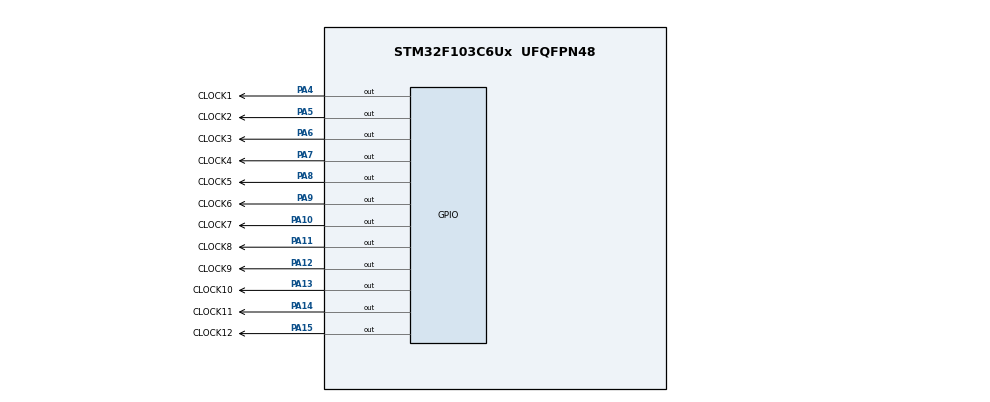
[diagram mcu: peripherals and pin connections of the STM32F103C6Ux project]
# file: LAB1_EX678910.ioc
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Mcu.Family=STM32F1
Mcu.Name=STM32F103C6Ux
Mcu.Package=UFQFPN48
NVIC.PriorityGroup=NVIC_PRIORITYGROUP_4
PA10.GPIO_Label=CLOCK7
PA10.Signal=GPIO_Output
PA11.GPIO_Label=CLOCK8
PA11.Signal=GPIO_Output
PA12.GPIO_Label=CLOCK9
PA12.Signal=GPIO_Output
PA13.GPIO_Label=CLOCK10
PA13.Signal=GPIO_Output
PA14.GPIO_Label=CLOCK11
PA14.Signal=GPIO_Output
PA15.GPIO_Label=CLOCK12
PA15.Signal=GPIO_Output
PA4.GPIO_Label=CLOCK1
PA4.Signal=GPIO_Output
PA5.GPIO_Label=CLOCK2
PA5.Signal=GPIO_Output
PA6.GPIO_Label=CLOCK3
PA6.Signal=GPIO_Output
PA7.GPIO_Label=CLOCK4
PA7.Signal=GPIO_Output
PA8.GPIO_Label=CLOCK5
PA8.Signal=GPIO_Output
PA9.GPIO_Label=CLOCK6
PA9.Signal=GPIO_Output
ProjectManager.HeapSize=0x200
ProjectManager.StackSize=0x400
ProjectManager.TargetToolchain=STM32CubeIDE
RCC.APB1Freq_Value=8000000
RCC.APB2Freq_Value=8000000
board=custom

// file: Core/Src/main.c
/* USER CODE BEGIN Header */
/**
  ******************************************************************************
  * @file           : main.c
  * @brief          : Main program body
  ******************************************************************************
  * @attention
  *
  * <h2><center>&copy; Copyright (c) 2022 STMicroelectronics.
  * All rights reserved.</center></h2>
  *
  * This software component is licensed by ST under BSD 3-Clause license,
  * the "License"; You may not use this file except in compliance with the
  * License. You may obtain a copy of the License at:
  *                        opensource.org/licenses/BSD-3-Clause
  *
  ******************************************************************************
  */
/* USER CODE END Header */
#include "main.h"

void SystemClock_Config(void);
static void MX_GPIO_Init(void);
/* USER CODE BEGIN PFP */
void AnalogClock(int num);
void clearAllClock();
void clockDisplay(int hour, int min, int sec);
void setNumberOnClock(int num);
/* USER CODE END PFP */

int main(void)
{

  /* MCU Configuration--------------------------------------------------------*/

  /* Reset of all peripherals, Initializes the Flash interface and the Systick. */
  HAL_Init();

  /* Configure the system clock */
  SystemClock_Config();

  /* Initialize all configured peripherals */
  MX_GPIO_Init();

  /* Infinite loop */
  /* USER CODE BEGIN WHILE */
  int hour = 0, min = 0, sec = 0;

  while (1)
  {
	  //EX6

	  /*for(int i = 1; i <= 12; i++){
		  AnalogClock(i);
		  if(i >= 12) i = 0;
		  HAL_Delay (1000);
	  }*/
	  //ex10
	  sec++;

	  if(sec >= 60){
		  sec = 0;
		  min++;
	  }
	  if(min >= 60){
		  hour++;
		  min = 0;
	  }
	  if(hour >= 24) hour = 0;
	  //display
	  clockDisplay(hour, min, sec);
	  HAL_Delay (50);
    /* USER CODE END WHILE */

  }
}

void SystemClock_Config(void)
{
  RCC_OscInitTypeDef RCC_OscInitStruct = {0};
  RCC_ClkInitTypeDef RCC_ClkInitStruct = {0};

  /** Initializes the RCC Oscillators according to the specified parameters
  * in the RCC_OscInitTypeDef structure.
  */
  RCC_OscInitStruct.OscillatorType = RCC_OSCILLATORTYPE_HSI;
  RCC_OscInitStruct.HSIState = RCC_HSI_ON;
  RCC_OscInitStruct.HSICalibrationValue = RCC_HSICALIBRATION_DEFAULT;
  RCC_OscInitStruct.PLL.PLLState = RCC_PLL_NONE;
  if (HAL_RCC_OscConfig(&RCC_OscInitStruct) != HAL_OK)
  {
    Error_Handler();
  }

  /** Initializes the CPU, AHB and APB buses clocks
  */
  RCC_ClkInitStruct.ClockType = RCC_CLOCKTYPE_HCLK|RCC_CLOCKTYPE_SYSCLK
                              |RCC_CLOCKTYPE_PCLK1|RCC_CLOCKTYPE_PCLK2;
  RCC_ClkInitStruct.SYSCLKSource = RCC_SYSCLKSOURCE_HSI;
  RCC_ClkInitStruct.AHBCLKDivider = RCC_SYSCLK_DIV1;
  RCC_ClkInitStruct.APB1CLKDivider = RCC_HCLK_DIV1;
  RCC_ClkInitStruct.APB2CLKDivider = RCC_HCLK_DIV1;

  if (HAL_RCC_ClockConfig(&RCC_ClkInitStruct, FLASH_LATENCY_0) != HAL_OK)
  {
    Error_Handler();
  }
}

static void MX_GPIO_Init(void)
{
  GPIO_InitTypeDef GPIO_InitStruct = {0};

  /* GPIO Ports Clock Enable */
  __HAL_RCC_GPIOA_CLK_ENABLE();

  /*Configure GPIO pin Output Level */
  HAL_GPIO_WritePin(GPIOA, CLOCK1_Pin|CLOCK2_Pin|CLOCK3_Pin|CLOCK4_Pin
                          |CLOCK5_Pin|CLOCK6_Pin|CLOCK7_Pin|CLOCK8_Pin
                          |CLOCK9_Pin|CLOCK10_Pin|CLOCK11_Pin|CLOCK12_Pin, GPIO_PIN_RESET);

  /*Configure GPIO pins : CLOCK1_Pin CLOCK2_Pin CLOCK3_Pin CLOCK4_Pin
                           CLOCK5_Pin CLOCK6_Pin CLOCK7_Pin CLOCK8_Pin
                           CLOCK9_Pin CLOCK10_Pin CLOCK11_Pin CLOCK12_Pin */
  GPIO_InitStruct.Pin = CLOCK1_Pin|CLOCK2_Pin|CLOCK3_Pin|CLOCK4_Pin
                          |CLOCK5_Pin|CLOCK6_Pin|CLOCK7_Pin|CLOCK8_Pin
                          |CLOCK9_Pin|CLOCK10_Pin|CLOCK11_Pin|CLOCK12_Pin;
  GPIO_InitStruct.Mode = GPIO_MODE_OUTPUT_PP;
  GPIO_InitStruct.Pull = GPIO_NOPULL;
  GPIO_InitStruct.Speed = GPIO_SPEED_FREQ_LOW;
  HAL_GPIO_Init(GPIOA, &GPIO_InitStruct);

}

/* USER CODE BEGIN 4 */
void clockDisplay(int hour, int min, int sec){
	  int hourDis, minDis, secDis;
	  if(sec%5 >= 3){
	  	  secDis = sec/5+1;
	  }
	  else{
          if(sec/5 == 0) secDis = 12;
  	      else secDis = sec/5;
	  }
	  if(min%5 >= 3){
		  minDis = min/5+1;
	  }
	  else{
  	      if(min/5 == 0) minDis = 12;
	 	  else minDis = min/5;
	  }
	  if(hour%12 == 0){
	  	  hourDis = 12;
	  }
	  else hourDis = hour%12;

	  clearAllClock();
	  setNumberOnClock(secDis);
	  setNumberOnClock(minDis);
	  setNumberOnClock(hourDis);
}

void setNumberOnClock(int num){
	switch(num){
	case 1:
		HAL_GPIO_WritePin ( CLOCK1_GPIO_Port , CLOCK1_Pin ,GPIO_PIN_RESET );
		break;
	case 2:
		HAL_GPIO_WritePin ( CLOCK2_GPIO_Port , CLOCK2_Pin ,GPIO_PIN_RESET );
		break;
	case 3:
		HAL_GPIO_WritePin ( CLOCK3_GPIO_Port , CLOCK3_Pin ,GPIO_PIN_RESET );
		break;
	case 4:
		HAL_GPIO_WritePin ( CLOCK4_GPIO_Port , CLOCK4_Pin ,GPIO_PIN_RESET );
		break;
	case 5:
		HAL_GPIO_WritePin ( CLOCK5_GPIO_Port , CLOCK5_Pin ,GPIO_PIN_RESET );
		break;
	case 6:
		HAL_GPIO_WritePin ( CLOCK6_GPIO_Port , CLOCK6_Pin ,GPIO_PIN_RESET );
		break;
	case 7:
		HAL_GPIO_WritePin ( CLOCK7_GPIO_Port , CLOCK7_Pin ,GPIO_PIN_RESET );
		break;
	case 8:
		HAL_GPIO_WritePin ( CLOCK8_GPIO_Port , CLOCK8_Pin ,GPIO_PIN_RESET );
		break;
	case 9:
		HAL_GPIO_WritePin ( CLOCK9_GPIO_Port , CLOCK9_Pin ,GPIO_PIN_RESET );
		break;
	case 10:
		HAL_GPIO_WritePin ( CLOCK10_GPIO_Port , CLOCK10_Pin ,GPIO_PIN_RESET );
		break;
	case 11:
		HAL_GPIO_WritePin ( CLOCK11_GPIO_Port , CLOCK11_Pin ,GPIO_PIN_RESET );
		break;
	case 12:
		HAL_GPIO_WritePin ( CLOCK12_GPIO_Port , CLOCK12_Pin ,GPIO_PIN_RESET );
		break;
	default:
		break;
	}
}

void clearNumberOnClock(int num){
	switch(num){
	case 1:
		HAL_GPIO_WritePin ( CLOCK1_GPIO_Port , CLOCK1_Pin ,GPIO_PIN_SET );
		break;
	case 2:
		HAL_GPIO_WritePin ( CLOCK2_GPIO_Port , CLOCK2_Pin ,GPIO_PIN_SET );
		break;
	case 3:
		HAL_GPIO_WritePin ( CLOCK3_GPIO_Port , CLOCK3_Pin ,GPIO_PIN_SET );
		break;
	case 4:
		HAL_GPIO_WritePin ( CLOCK4_GPIO_Port , CLOCK4_Pin ,GPIO_PIN_SET );
		break;
	case 5:
		HAL_GPIO_WritePin ( CLOCK5_GPIO_Port , CLOCK5_Pin ,GPIO_PIN_SET );
		break;
	case 6:
		HAL_GPIO_WritePin ( CLOCK6_GPIO_Port , CLOCK6_Pin ,GPIO_PIN_SET );
		break;
	case 7:
		HAL_GPIO_WritePin ( CLOCK7_GPIO_Port , CLOCK7_Pin ,GPIO_PIN_SET );
		break;
	case 8:
		HAL_GPIO_WritePin ( CLOCK8_GPIO_Port , CLOCK8_Pin ,GPIO_PIN_SET );
		break;
	case 9:
		HAL_GPIO_WritePin ( CLOCK9_GPIO_Port , CLOCK9_Pin ,GPIO_PIN_SET );
		break;
	case 10:
		HAL_GPIO_WritePin ( CLOCK10_GPIO_Port , CLOCK10_Pin ,GPIO_PIN_SET );
		break;
	case 11:
		HAL_GPIO_WritePin ( CLOCK11_GPIO_Port , CLOCK11_Pin ,GPIO_PIN_SET );
		break;
	case 12:
		HAL_GPIO_WritePin ( CLOCK12_GPIO_Port , CLOCK12_Pin ,GPIO_PIN_SET );
		break;
	default:
		break;
	}
}

void clearAllClock() {
	HAL_GPIO_WritePin ( CLOCK1_GPIO_Port , CLOCK1_Pin ,GPIO_PIN_SET );
	HAL_GPIO_WritePin ( CLOCK2_GPIO_Port , CLOCK2_Pin ,GPIO_PIN_SET );
	HAL_GPIO_WritePin ( CLOCK3_GPIO_Port , CLOCK3_Pin ,GPIO_PIN_SET );
	HAL_GPIO_WritePin ( CLOCK4_GPIO_Port , CLOCK4_Pin ,GPIO_PIN_SET );
	HAL_GPIO_WritePin ( CLOCK5_GPIO_Port , CLOCK5_Pin ,GPIO_PIN_SET );
	HAL_GPIO_WritePin ( CLOCK6_GPIO_Port , CLOCK6_Pin ,GPIO_PIN_SET );
	HAL_GPIO_WritePin ( CLOCK7_GPIO_Port , CLOCK7_Pin ,GPIO_PIN_SET );
	HAL_GPIO_WritePin ( CLOCK8_GPIO_Port , CLOCK8_Pin ,GPIO_PIN_SET );
	HAL_GPIO_WritePin ( CLOCK9_GPIO_Port , CLOCK9_Pin ,GPIO_PIN_SET );
	HAL_GPIO_WritePin ( CLOCK10_GPIO_Port , CLOCK10_Pin ,GPIO_PIN_SET );
	HAL_GPIO_WritePin ( CLOCK11_GPIO_Port , CLOCK11_Pin ,GPIO_PIN_SET );
	HAL_GPIO_WritePin ( CLOCK12_GPIO_Port , CLOCK12_Pin ,GPIO_PIN_SET );
}
void AnalogClock(int num){
	switch(num){
	case 1:
		HAL_GPIO_WritePin ( CLOCK1_GPIO_Port , CLOCK1_Pin ,GPIO_PIN_RESET );
		HAL_GPIO_WritePin ( CLOCK2_GPIO_Port , CLOCK2_Pin ,GPIO_PIN_SET );
		HAL_GPIO_WritePin ( CLOCK3_GPIO_Port , CLOCK3_Pin ,GPIO_PIN_SET );
		HAL_GPIO_WritePin ( CLOCK4_GPIO_Port , CLOCK4_Pin ,GPIO_PIN_SET );
		HAL_GPIO_WritePin ( CLOCK5_GPIO_Port , CLOCK5_Pin ,GPIO_PIN_SET );
		HAL_GPIO_WritePin ( CLOCK6_GPIO_Port , CLOCK6_Pin ,GPIO_PIN_SET );
		HAL_GPIO_WritePin ( CLOCK7_GPIO_Port , CLOCK7_Pin ,GPIO_PIN_SET );
		HAL_GPIO_WritePin ( CLOCK8_GPIO_Port , CLOCK8_Pin ,GPIO_PIN_SET );
		HAL_GPIO_WritePin ( CLOCK9_GPIO_Port , CLOCK9_Pin ,GPIO_PIN_SET );
		HAL_GPIO_WritePin ( CLOCK10_GPIO_Port , CLOCK10_Pin ,GPIO_PIN_SET );
		HAL_GPIO_WritePin ( CLOCK11_GPIO_Port , CLOCK11_Pin ,GPIO_PIN_SET );
		HAL_GPIO_WritePin ( CLOCK12_GPIO_Port , CLOCK12_Pin ,GPIO_PIN_SET );
		break;
	case 2:
		HAL_GPIO_WritePin ( CLOCK1_GPIO_Port , CLOCK1_Pin ,GPIO_PIN_SET );
		HAL_GPIO_WritePin ( CLOCK2_GPIO_Port , CLOCK2_Pin ,GPIO_PIN_RESET );
		HAL_GPIO_WritePin ( CLOCK3_GPIO_Port , CLOCK3_Pin ,GPIO_PIN_SET );
		HAL_GPIO_WritePin ( CLOCK4_GPIO_Port , CLOCK4_Pin ,GPIO_PIN_SET );
		HAL_GPIO_WritePin ( CLOCK5_GPIO_Port , CLOCK5_Pin ,GPIO_PIN_SET );
		HAL_GPIO_WritePin ( CLOCK6_GPIO_Port , CLOCK6_Pin ,GPIO_PIN_SET );
		HAL_GPIO_WritePin ( CLOCK7_GPIO_Port , CLOCK7_Pin ,GPIO_PIN_SET );
		HAL_GPIO_WritePin ( CLOCK8_GPIO_Port , CLOCK8_Pin ,GPIO_PIN_SET );
		HAL_GPIO_WritePin ( CLOCK9_GPIO_Port , CLOCK9_Pin ,GPIO_PIN_SET );
		HAL_GPIO_WritePin ( CLOCK10_GPIO_Port , CLOCK10_Pin ,GPIO_PIN_SET );
		HAL_GPIO_WritePin ( CLOCK11_GPIO_Port , CLOCK11_Pin ,GPIO_PIN_SET );
		HAL_GPIO_WritePin ( CLOCK12_GPIO_Port , CLOCK12_Pin ,GPIO_PIN_SET );
		break;
	case 3:
		HAL_GPIO_WritePin ( CLOCK1_GPIO_Port , CLOCK1_Pin ,GPIO_PIN_SET );
		HAL_GPIO_WritePin ( CLOCK2_GPIO_Port , CLOCK2_Pin ,GPIO_PIN_SET );
		HAL_GPIO_WritePin ( CLOCK3_GPIO_Port , CLOCK3_Pin ,GPIO_PIN_RESET );
		HAL_GPIO_WritePin ( CLOCK4_GPIO_Port , CLOCK4_Pin ,GPIO_PIN_SET );
		HAL_GPIO_WritePin ( CLOCK5_GPIO_Port , CLOCK5_Pin ,GPIO_PIN_SET );
		HAL_GPIO_WritePin ( CLOCK6_GPIO_Port , CLOCK6_Pin ,GPIO_PIN_SET );
		HAL_GPIO_WritePin ( CLOCK7_GPIO_Port , CLOCK7_Pin ,GPIO_PIN_SET );
		HAL_GPIO_WritePin ( CLOCK8_GPIO_Port , CLOCK8_Pin ,GPIO_PIN_SET );
		HAL_GPIO_WritePin ( CLOCK9_GPIO_Port , CLOCK9_Pin ,GPIO_PIN_SET );
		HAL_GPIO_WritePin ( CLOCK10_GPIO_Port , CLOCK10_Pin ,GPIO_PIN_SET );
		HAL_GPIO_WritePin ( CLOCK11_GPIO_Port , CLOCK11_Pin ,GPIO_PIN_SET );
		HAL_GPIO_WritePin ( CLOCK12_GPIO_Port , CLOCK12_Pin ,GPIO_PIN_SET );
		break;
	case 4:
		HAL_GPIO_WritePin ( CLOCK1_GPIO_Port , CLOCK1_Pin ,GPIO_PIN_SET );
		HAL_GPIO_WritePin ( CLOCK2_GPIO_Port , CLOCK2_Pin ,GPIO_PIN_SET );
		HAL_GPIO_WritePin ( CLOCK3_GPIO_Port , CLOCK3_Pin ,GPIO_PIN_SET );
		HAL_GPIO_WritePin ( CLOCK4_GPIO_Port , CLOCK4_Pin ,GPIO_PIN_RESET );
		HAL_GPIO_WritePin ( CLOCK5_GPIO_Port , CLOCK5_Pin ,GPIO_PIN_SET );
		HAL_GPIO_WritePin ( CLOCK6_GPIO_Port , CLOCK6_Pin ,GPIO_PIN_SET );
		HAL_GPIO_WritePin ( CLOCK7_GPIO_Port , CLOCK7_Pin ,GPIO_PIN_SET );
		HAL_GPIO_WritePin ( CLOCK8_GPIO_Port , CLOCK8_Pin ,GPIO_PIN_SET );
		HAL_GPIO_WritePin ( CLOCK9_GPIO_Port , CLOCK9_Pin ,GPIO_PIN_SET );
		HAL_GPIO_WritePin ( CLOCK10_GPIO_Port , CLOCK10_Pin ,GPIO_PIN_SET );
		HAL_GPIO_WritePin ( CLOCK11_GPIO_Port , CLOCK11_Pin ,GPIO_PIN_SET );
		HAL_GPIO_WritePin ( CLOCK12_GPIO_Port , CLOCK12_Pin ,GPIO_PIN_SET );
		break;
	case 5:
		HAL_GPIO_WritePin ( CLOCK1_GPIO_Port , CLOCK1_Pin ,GPIO_PIN_SET );
		HAL_GPIO_WritePin ( CLOCK2_GPIO_Port , CLOCK2_Pin ,GPIO_PIN_SET );
		HAL_GPIO_WritePin ( CLOCK3_GPIO_Port , CLOCK3_Pin ,GPIO_PIN_SET );
		HAL_GPIO_WritePin ( CLOCK4_GPIO_Port , CLOCK4_Pin ,GPIO_PIN_SET );
		HAL_GPIO_WritePin ( CLOCK5_GPIO_Port , CLOCK5_Pin ,GPIO_PIN_RESET );
		HAL_GPIO_WritePin ( CLOCK6_GPIO_Port , CLOCK6_Pin ,GPIO_PIN_SET );
		HAL_GPIO_WritePin ( CLOCK7_GPIO_Port , CLOCK7_Pin ,GPIO_PIN_SET );
		HAL_GPIO_WritePin ( CLOCK8_GPIO_Port , CLOCK8_Pin ,GPIO_PIN_SET );
		HAL_GPIO_WritePin ( CLOCK9_GPIO_Port , CLOCK9_Pin ,GPIO_PIN_SET );
		HAL_GPIO_WritePin ( CLOCK10_GPIO_Port , CLOCK10_Pin ,GPIO_PIN_SET );
		HAL_GPIO_WritePin ( CLOCK11_GPIO_Port , CLOCK11_Pin ,GPIO_PIN_SET );
		HAL_GPIO_WritePin ( CLOCK12_GPIO_Port , CLOCK12_Pin ,GPIO_PIN_SET );
		break;
	case 6:
		HAL_GPIO_WritePin ( CLOCK1_GPIO_Port , CLOCK1_Pin ,GPIO_PIN_SET );
		HAL_GPIO_WritePin ( CLOCK2_GPIO_Port , CLOCK2_Pin ,GPIO_PIN_SET );
		HAL_GPIO_WritePin ( CLOCK3_GPIO_Port , CLOCK3_Pin ,GPIO_PIN_SET );
		HAL_GPIO_WritePin ( CLOCK4_GPIO_Port , CLOCK4_Pin ,GPIO_PIN_SET );
		HAL_GPIO_WritePin ( CLOCK5_GPIO_Port , CLOCK5_Pin ,GPIO_PIN_SET );
		HAL_GPIO_WritePin ( CLOCK6_GPIO_Port , CLOCK6_Pin ,GPIO_PIN_RESET );
		HAL_GPIO_WritePin ( CLOCK7_GPIO_Port , CLOCK7_Pin ,GPIO_PIN_SET );
		HAL_GPIO_WritePin ( CLOCK8_GPIO_Port , CLOCK8_Pin ,GPIO_PIN_SET );
		HAL_GPIO_WritePin ( CLOCK9_GPIO_Port , CLOCK9_Pin ,GPIO_PIN_SET );
		HAL_GPIO_WritePin ( CLOCK10_GPIO_Port , CLOCK10_Pin ,GPIO_PIN_SET );
		HAL_GPIO_WritePin ( CLOCK11_GPIO_Port , CLOCK11_Pin ,GPIO_PIN_SET );
		HAL_GPIO_WritePin ( CLOCK12_GPIO_Port , CLOCK12_Pin ,GPIO_PIN_SET );
		break;
	case 7:
		HAL_GPIO_WritePin ( CLOCK1_GPIO_Port , CLOCK1_Pin ,GPIO_PIN_SET );
		HAL_GPIO_WritePin ( CLOCK2_GPIO_Port , CLOCK2_Pin ,GPIO_PIN_SET );
		HAL_GPIO_WritePin ( CLOCK3_GPIO_Port , CLOCK3_Pin ,GPIO_PIN_SET );
		HAL_GPIO_WritePin ( CLOCK4_GPIO_Port , CLOCK4_Pin ,GPIO_PIN_SET );
		HAL_GPIO_WritePin ( CLOCK5_GPIO_Port , CLOCK5_Pin ,GPIO_PIN_SET );
		HAL_GPIO_WritePin ( CLOCK6_GPIO_Port , CLOCK6_Pin ,GPIO_PIN_SET );
		HAL_GPIO_WritePin ( CLOCK7_GPIO_Port , CLOCK7_Pin ,GPIO_PIN_RESET );
		HAL_GPIO_WritePin ( CLOCK8_GPIO_Port , CLOCK8_Pin ,GPIO_PIN_SET );
		HAL_GPIO_WritePin ( CLOCK9_GPIO_Port , CLOCK9_Pin ,GPIO_PIN_SET );
		HAL_GPIO_WritePin ( CLOCK10_GPIO_Port , CLOCK10_Pin ,GPIO_PIN_SET );
		HAL_GPIO_WritePin ( CLOCK11_GPIO_Port , CLOCK11_Pin ,GPIO_PIN_SET );
		HAL_GPIO_WritePin ( CLOCK12_GPIO_Port , CLOCK12_Pin ,GPIO_PIN_SET );
		break;
	case 8:
		HAL_GPIO_WritePin ( CLOCK1_GPIO_Port , CLOCK1_Pin ,GPIO_PIN_SET );
		HAL_GPIO_WritePin ( CLOCK2_GPIO_Port , CLOCK2_Pin ,GPIO_PIN_SET );
		HAL_GPIO_WritePin ( CLOCK3_GPIO_Port , CLOCK3_Pin ,GPIO_PIN_SET );
		HAL_GPIO_WritePin ( CLOCK4_GPIO_Port , CLOCK4_Pin ,GPIO_PIN_SET );
		HAL_GPIO_WritePin ( CLOCK5_GPIO_Port , CLOCK5_Pin ,GPIO_PIN_SET );
		HAL_GPIO_WritePin ( CLOCK6_GPIO_Port , CLOCK6_Pin ,GPIO_PIN_SET );
		HAL_GPIO_WritePin ( CLOCK7_GPIO_Port , CLOCK7_Pin ,GPIO_PIN_SET );
		HAL_GPIO_WritePin ( CLOCK8_GPIO_Port , CLOCK8_Pin ,GPIO_PIN_RESET );
		HAL_GPIO_WritePin ( CLOCK9_GPIO_Port , CLOCK9_Pin ,GPIO_PIN_SET );
		HAL_GPIO_WritePin ( CLOCK10_GPIO_Port , CLOCK10_Pin ,GPIO_PIN_SET );
		HAL_GPIO_WritePin ( CLOCK11_GPIO_Port , CLOCK11_Pin ,GPIO_PIN_SET );
		HAL_GPIO_WritePin ( CLOCK12_GPIO_Port , CLOCK12_Pin ,GPIO_PIN_SET );
		break;
	case 9:
		HAL_GPIO_WritePin ( CLOCK1_GPIO_Port , CLOCK1_Pin ,GPIO_PIN_SET );
		HAL_GPIO_WritePin ( CLOCK2_GPIO_Port , CLOCK2_Pin ,GPIO_PIN_SET );
		HAL_GPIO_WritePin ( CLOCK3_GPIO_Port , CLOCK3_Pin ,GPIO_PIN_SET );
		HAL_GPIO_WritePin ( CLOCK4_GPIO_Port , CLOCK4_Pin ,GPIO_PIN_SET );
		HAL_GPIO_WritePin ( CLOCK5_GPIO_Port , CLOCK5_Pin ,GPIO_PIN_SET );
		HAL_GPIO_WritePin ( CLOCK6_GPIO_Port , CLOCK6_Pin ,GPIO_PIN_SET );
		HAL_GPIO_WritePin ( CLOCK7_GPIO_Port , CLOCK7_Pin ,GPIO_PIN_SET );
		HAL_GPIO_WritePin ( CLOCK8_GPIO_Port , CLOCK8_Pin ,GPIO_PIN_SET );
		HAL_GPIO_WritePin ( CLOCK9_GPIO_Port , CLOCK9_Pin ,GPIO_PIN_RESET );
		HAL_GPIO_WritePin ( CLOCK10_GPIO_Port , CLOCK10_Pin ,GPIO_PIN_SET );
		HAL_GPIO_WritePin ( CLOCK11_GPIO_Port , CLOCK11_Pin ,GPIO_PIN_SET );
		HAL_GPIO_WritePin ( CLOCK12_GPIO_Port , CLOCK12_Pin ,GPIO_PIN_SET );
		break;
	case 10:
		HAL_GPIO_WritePin ( CLOCK1_GPIO_Port , CLOCK1_Pin ,GPIO_PIN_SET );
		HAL_GPIO_WritePin ( CLOCK2_GPIO_Port , CLOCK2_Pin ,GPIO_PIN_SET );
		HAL_GPIO_WritePin ( CLOCK3_GPIO_Port , CLOCK3_Pin ,GPIO_PIN_SET );
		HAL_GPIO_WritePin ( CLOCK4_GPIO_Port , CLOCK4_Pin ,GPIO_PIN_SET );
		HAL_GPIO_WritePin ( CLOCK5_GPIO_Port , CLOCK5_Pin ,GPIO_PIN_SET );
		HAL_GPIO_WritePin ( CLOCK6_GPIO_Port , CLOCK6_Pin ,GPIO_PIN_SET );
		HAL_GPIO_WritePin ( CLOCK7_GPIO_Port , CLOCK7_Pin ,GPIO_PIN_SET );
		HAL_GPIO_WritePin ( CLOCK8_GPIO_Port , CLOCK8_Pin ,GPIO_PIN_SET );
		HAL_GPIO_WritePin ( CLOCK9_GPIO_Port , CLOCK9_Pin ,GPIO_PIN_SET );
		HAL_GPIO_WritePin ( CLOCK10_GPIO_Port , CLOCK10_Pin ,GPIO_PIN_RESET );
		HAL_GPIO_WritePin ( CLOCK11_GPIO_Port , CLOCK11_Pin ,GPIO_PIN_SET );
		HAL_GPIO_WritePin ( CLOCK12_GPIO_Port , CLOCK12_Pin ,GPIO_PIN_SET );
		break;
	case 11:
		HAL_GPIO_WritePin ( CLOCK1_GPIO_Port , CLOCK1_Pin ,GPIO_PIN_SET );
		HAL_GPIO_WritePin ( CLOCK2_GPIO_Port , CLOCK2_Pin ,GPIO_PIN_SET );
		HAL_GPIO_WritePin ( CLOCK3_GPIO_Port , CLOCK3_Pin ,GPIO_PIN_SET );
		HAL_GPIO_WritePin ( CLOCK4_GPIO_Port , CLOCK4_Pin ,GPIO_PIN_SET );
		HAL_GPIO_WritePin ( CLOCK5_GPIO_Port , CLOCK5_Pin ,GPIO_PIN_SET );
		HAL_GPIO_WritePin ( CLOCK6_GPIO_Port , CLOCK6_Pin ,GPIO_PIN_SET );
		HAL_GPIO_WritePin ( CLOCK7_GPIO_Port , CLOCK7_Pin ,GPIO_PIN_SET );
		HAL_GPIO_WritePin ( CLOCK8_GPIO_Port , CLOCK8_Pin ,GPIO_PIN_SET );
		HAL_GPIO_WritePin ( CLOCK9_GPIO_Port , CLOCK9_Pin ,GPIO_PIN_SET );
		HAL_GPIO_WritePin ( CLOCK10_GPIO_Port , CLOCK10_Pin ,GPIO_PIN_SET );
		HAL_GPIO_WritePin ( CLOCK11_GPIO_Port , CLOCK11_Pin ,GPIO_PIN_RESET );
		HAL_GPIO_WritePin ( CLOCK12_GPIO_Port , CLOCK12_Pin ,GPIO_PIN_SET );
		break;
	case 12:
		HAL_GPIO_WritePin ( CLOCK1_GPIO_Port , CLOCK1_Pin ,GPIO_PIN_SET );
		HAL_GPIO_WritePin ( CLOCK2_GPIO_Port , CLOCK2_Pin ,GPIO_PIN_SET );
		HAL_GPIO_WritePin ( CLOCK3_GPIO_Port , CLOCK3_Pin ,GPIO_PIN_SET );
		HAL_GPIO_WritePin ( CLOCK4_GPIO_Port , CLOCK4_Pin ,GPIO_PIN_SET );
		HAL_GPIO_WritePin ( CLOCK5_GPIO_Port , CLOCK5_Pin ,GPIO_PIN_SET );
		HAL_GPIO_WritePin ( CLOCK6_GPIO_Port , CLOCK6_Pin ,GPIO_PIN_SET );
		HAL_GPIO_WritePin ( CLOCK7_GPIO_Port , CLOCK7_Pin ,GPIO_PIN_SET );
		HAL_GPIO_WritePin ( CLOCK8_GPIO_Port , CLOCK8_Pin ,GPIO_PIN_SET );
		HAL_GPIO_WritePin ( CLOCK9_GPIO_Port , CLOCK9_Pin ,GPIO_PIN_SET );
		HAL_GPIO_WritePin ( CLOCK10_GPIO_Port , CLOCK10_Pin ,GPIO_PIN_SET );
		HAL_GPIO_WritePin ( CLOCK11_GPIO_Port , CLOCK11_Pin ,GPIO_PIN_SET );
		HAL_GPIO_WritePin ( CLOCK12_GPIO_Port , CLOCK12_Pin ,GPIO_PIN_RESET );
		break;
	default:
		break;
	}
}
/* USER CODE END 4 */

void Error_Handler(void)
{
  __disable_irq();
  while (1)
  {
  }
}
